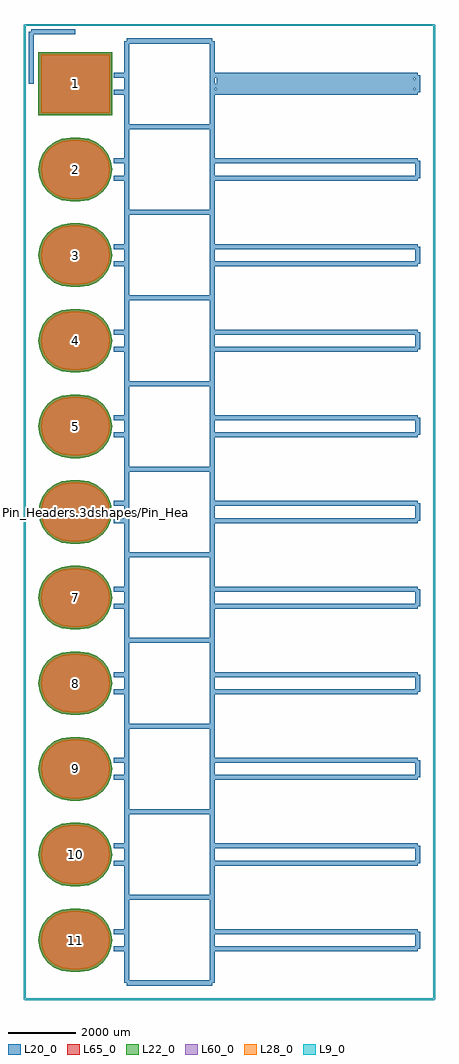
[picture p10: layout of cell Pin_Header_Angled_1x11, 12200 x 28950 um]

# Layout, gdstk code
import gdstk
lib = gdstk.Library(unit=1e-6, precision=1e-09)
def R(c, l, rs):  # rectangles x0, y0, x1, y1
    for r in rs: c.add(gdstk.rectangle(r[:2], r[2:], *l))
def P(c, l, *ps):  # polygons
    for p in ps: c.add(gdstk.Polygon(p, *l))
L9_0 = (9, 0)
L20_0 = (20, 0)
L22_0 = (22, 0)
L28_0 = (28, 0)
L60_0 = (60, 0)
L65_0 = (65, 0)

pin_header_angled_1x11 = lib.new_cell('Pin_Header_Angled_1x11')
R(pin_header_angled_1x11, L22_0, [(-1091,-938.6,1091,938.6)])
P(pin_header_angled_1x11, L22_0, [(-152.4,-26338.6),(152.4,-26338.6),(395.328,-26306.618),(621.7,-26212.851),(816.09,-26063.69),(965.251,-25869.3),(1059.018,-25642.928),(1091,-25400),(1059.018,-25157.072),(965.251,-24930.7),(816.09,-24736.31),(621.7,-24587.149),(395.328,-24493.382),(152.4,-24461.4),(-152.4,-24461.4),(-395.328,-24493.382),(-621.7,-24587.149),(-816.09,-24736.31),(-965.251,-24930.7),(-1059.018,-25157.072),(-1091,-25400),(-1059.018,-25642.928),(-965.251,-25869.3),(-816.09,-26063.69),(-621.7,-26212.851),(-395.328,-26306.618)],
  [(-152.4,-23798.6),(152.4,-23798.6),(395.328,-23766.618),(621.7,-23672.851),(816.09,-23523.69),(965.251,-23329.3),(1059.018,-23102.928),(1091,-22860),(1059.018,-22617.072),(965.251,-22390.7),(816.09,-22196.31),(621.7,-22047.149),(395.328,-21953.382),(152.4,-21921.4),(-152.4,-21921.4),(-395.328,-21953.382),(-621.7,-22047.149),(-816.09,-22196.31),(-965.251,-22390.7),(-1059.018,-22617.072),(-1091,-22860),(-1059.018,-23102.928),(-965.251,-23329.3),(-816.09,-23523.69),(-621.7,-23672.851),(-395.328,-23766.618)],
  [(-152.4,-21258.6),(152.4,-21258.6),(395.328,-21226.618),(621.7,-21132.851),(816.09,-20983.69),(965.251,-20789.3),(1059.018,-20562.928),(1091,-20320),(1059.018,-20077.072),(965.251,-19850.7),(816.09,-19656.31),(621.7,-19507.149),(395.328,-19413.382),(152.4,-19381.4),(-152.4,-19381.4),(-395.328,-19413.382),(-621.7,-19507.149),(-816.09,-19656.31),(-965.251,-19850.7),(-1059.018,-20077.072),(-1091,-20320),(-1059.018,-20562.928),(-965.251,-20789.3),(-816.09,-20983.69),(-621.7,-21132.851),(-395.328,-21226.618)],
  [(-152.4,-18718.6),(152.4,-18718.6),(395.328,-18686.618),(621.7,-18592.851),(816.09,-18443.69),(965.251,-18249.3),(1059.018,-18022.928),(1091,-17780),(1059.018,-17537.072),(965.251,-17310.7),(816.09,-17116.31),(621.7,-16967.149),(395.328,-16873.382),(152.4,-16841.4),(-152.4,-16841.4),(-395.328,-16873.382),(-621.7,-16967.149),(-816.09,-17116.31),(-965.251,-17310.7),(-1059.018,-17537.072),(-1091,-17780),(-1059.018,-18022.928),(-965.251,-18249.3),(-816.09,-18443.69),(-621.7,-18592.851),(-395.328,-18686.618)],
  [(-152.4,-16178.6),(152.4,-16178.6),(395.328,-16146.618),(621.7,-16052.851),(816.09,-15903.69),(965.251,-15709.3),(1059.018,-15482.928),(1091,-15240),(1059.018,-14997.072),(965.251,-14770.7),(816.09,-14576.31),(621.7,-14427.149),(395.328,-14333.382),(152.4,-14301.4),(-152.4,-14301.4),(-395.328,-14333.382),(-621.7,-14427.149),(-816.09,-14576.31),(-965.251,-14770.7),(-1059.018,-14997.072),(-1091,-15240),(-1059.018,-15482.928),(-965.251,-15709.3),(-816.09,-15903.69),(-621.7,-16052.851),(-395.328,-16146.618)],
  [(-152.4,-13638.6),(152.4,-13638.6),(395.328,-13606.618),(621.7,-13512.851),(816.09,-13363.69),(965.251,-13169.3),(1059.018,-12942.928),(1091,-12700),(1059.018,-12457.072),(965.251,-12230.7),(816.09,-12036.31),(621.7,-11887.149),(395.328,-11793.382),(152.4,-11761.4),(-152.4,-11761.4),(-395.328,-11793.382),(-621.7,-11887.149),(-816.09,-12036.31),(-965.251,-12230.7),(-1059.018,-12457.072),(-1091,-12700),(-1059.018,-12942.928),(-965.251,-13169.3),(-816.09,-13363.69),(-621.7,-13512.851),(-395.328,-13606.618)],
  [(-152.4,-11098.6),(152.4,-11098.6),(395.328,-11066.618),(621.7,-10972.851),(816.09,-10823.69),(965.251,-10629.3),(1059.018,-10402.928),(1091,-10160),(1059.018,-9917.072),(965.251,-9690.7),(816.09,-9496.31),(621.7,-9347.149),(395.328,-9253.382),(152.4,-9221.4),(-152.4,-9221.4),(-395.328,-9253.382),(-621.7,-9347.149),(-816.09,-9496.31),(-965.251,-9690.7),(-1059.018,-9917.072),(-1091,-10160),(-1059.018,-10402.928),(-965.251,-10629.3),(-816.09,-10823.69),(-621.7,-10972.851),(-395.328,-11066.618)],
  [(-152.4,-8558.6),(152.4,-8558.6),(395.328,-8526.618),(621.7,-8432.851),(816.09,-8283.69),(965.251,-8089.3),(1059.018,-7862.928),(1091,-7620),(1059.018,-7377.072),(965.251,-7150.7),(816.09,-6956.31),(621.7,-6807.149),(395.328,-6713.382),(152.4,-6681.4),(-152.4,-6681.4),(-395.328,-6713.382),(-621.7,-6807.149),(-816.09,-6956.31),(-965.251,-7150.7),(-1059.018,-7377.072),(-1091,-7620),(-1059.018,-7862.928),(-965.251,-8089.3),(-816.09,-8283.69),(-621.7,-8432.851),(-395.328,-8526.618)],
  [(-152.4,-6018.6),(152.4,-6018.6),(395.328,-5986.618),(621.7,-5892.851),(816.09,-5743.69),(965.251,-5549.3),(1059.018,-5322.928),(1091,-5080),(1059.018,-4837.072),(965.251,-4610.7),(816.09,-4416.31),(621.7,-4267.149),(395.328,-4173.382),(152.4,-4141.4),(-152.4,-4141.4),(-395.328,-4173.382),(-621.7,-4267.149),(-816.09,-4416.31),(-965.251,-4610.7),(-1059.018,-4837.072),(-1091,-5080),(-1059.018,-5322.928),(-965.251,-5549.3),(-816.09,-5743.69),(-621.7,-5892.851),(-395.328,-5986.618)],
  [(-152.4,-3478.6),(152.4,-3478.6),(395.328,-3446.618),(621.7,-3352.851),(816.09,-3203.69),(965.251,-3009.3),(1059.018,-2782.928),(1091,-2540),(1059.018,-2297.072),(965.251,-2070.7),(816.09,-1876.31),(621.7,-1727.149),(395.328,-1633.382),(152.4,-1601.4),(-152.4,-1601.4),(-395.328,-1633.382),(-621.7,-1727.149),(-816.09,-1876.31),(-965.251,-2070.7),(-1059.018,-2297.072),(-1091,-2540),(-1059.018,-2782.928),(-965.251,-3009.3),(-816.09,-3203.69),(-621.7,-3352.851),(-395.328,-3446.618)])
R(pin_header_angled_1x11, L28_0, [(-1016,-863.6,1016,863.6)])
P(pin_header_angled_1x11, L28_0, [(-152.4,-26263.6),(152.4,-26263.6),(375.916,-26234.174),(584.2,-26147.9),(763.057,-26010.657),(900.3,-25831.8),(986.574,-25623.516),(1016,-25400),(986.574,-25176.484),(900.3,-24968.2),(763.057,-24789.343),(584.2,-24652.1),(375.916,-24565.826),(152.4,-24536.4),(-152.4,-24536.4),(-375.916,-24565.826),(-584.2,-24652.1),(-763.057,-24789.343),(-900.3,-24968.2),(-986.574,-25176.484),(-1016,-25400),(-986.574,-25623.516),(-900.3,-25831.8),(-763.057,-26010.657),(-584.2,-26147.9),(-375.916,-26234.174)],
  [(-152.4,-23723.6),(152.4,-23723.6),(375.916,-23694.174),(584.2,-23607.9),(763.057,-23470.657),(900.3,-23291.8),(986.574,-23083.516),(1016,-22860),(986.574,-22636.484),(900.3,-22428.2),(763.057,-22249.343),(584.2,-22112.1),(375.916,-22025.826),(152.4,-21996.4),(-152.4,-21996.4),(-375.916,-22025.826),(-584.2,-22112.1),(-763.057,-22249.343),(-900.3,-22428.2),(-986.574,-22636.484),(-1016,-22860),(-986.574,-23083.516),(-900.3,-23291.8),(-763.057,-23470.657),(-584.2,-23607.9),(-375.916,-23694.174)],
  [(-152.4,-21183.6),(152.4,-21183.6),(375.916,-21154.174),(584.2,-21067.9),(763.057,-20930.657),(900.3,-20751.8),(986.574,-20543.516),(1016,-20320),(986.574,-20096.484),(900.3,-19888.2),(763.057,-19709.343),(584.2,-19572.1),(375.916,-19485.826),(152.4,-19456.4),(-152.4,-19456.4),(-375.916,-19485.826),(-584.2,-19572.1),(-763.057,-19709.343),(-900.3,-19888.2),(-986.574,-20096.484),(-1016,-20320),(-986.574,-20543.516),(-900.3,-20751.8),(-763.057,-20930.657),(-584.2,-21067.9),(-375.916,-21154.174)],
  [(-152.4,-18643.6),(152.4,-18643.6),(375.916,-18614.174),(584.2,-18527.9),(763.057,-18390.657),(900.3,-18211.8),(986.574,-18003.516),(1016,-17780),(986.574,-17556.484),(900.3,-17348.2),(763.057,-17169.343),(584.2,-17032.1),(375.916,-16945.826),(152.4,-16916.4),(-152.4,-16916.4),(-375.916,-16945.826),(-584.2,-17032.1),(-763.057,-17169.343),(-900.3,-17348.2),(-986.574,-17556.484),(-1016,-17780),(-986.574,-18003.516),(-900.3,-18211.8),(-763.057,-18390.657),(-584.2,-18527.9),(-375.916,-18614.174)],
  [(-152.4,-16103.6),(152.4,-16103.6),(375.916,-16074.174),(584.2,-15987.9),(763.057,-15850.657),(900.3,-15671.8),(986.574,-15463.516),(1016,-15240),(986.574,-15016.484),(900.3,-14808.2),(763.057,-14629.343),(584.2,-14492.1),(375.916,-14405.826),(152.4,-14376.4),(-152.4,-14376.4),(-375.916,-14405.826),(-584.2,-14492.1),(-763.057,-14629.343),(-900.3,-14808.2),(-986.574,-15016.484),(-1016,-15240),(-986.574,-15463.516),(-900.3,-15671.8),(-763.057,-15850.657),(-584.2,-15987.9),(-375.916,-16074.174)],
  [(-152.4,-13563.6),(152.4,-13563.6),(375.916,-13534.174),(584.2,-13447.9),(763.057,-13310.657),(900.3,-13131.8),(986.574,-12923.516),(1016,-12700),(986.574,-12476.484),(900.3,-12268.2),(763.057,-12089.343),(584.2,-11952.1),(375.916,-11865.826),(152.4,-11836.4),(-152.4,-11836.4),(-375.916,-11865.826),(-584.2,-11952.1),(-763.057,-12089.343),(-900.3,-12268.2),(-986.574,-12476.484),(-1016,-12700),(-986.574,-12923.516),(-900.3,-13131.8),(-763.057,-13310.657),(-584.2,-13447.9),(-375.916,-13534.174)],
  [(-152.4,-11023.6),(152.4,-11023.6),(375.916,-10994.174),(584.2,-10907.9),(763.057,-10770.657),(900.3,-10591.8),(986.574,-10383.516),(1016,-10160),(986.574,-9936.484),(900.3,-9728.2),(763.057,-9549.343),(584.2,-9412.1),(375.916,-9325.826),(152.4,-9296.4),(-152.4,-9296.4),(-375.916,-9325.826),(-584.2,-9412.1),(-763.057,-9549.343),(-900.3,-9728.2),(-986.574,-9936.484),(-1016,-10160),(-986.574,-10383.516),(-900.3,-10591.8),(-763.057,-10770.657),(-584.2,-10907.9),(-375.916,-10994.174)],
  [(-152.4,-8483.6),(152.4,-8483.6),(375.916,-8454.174),(584.2,-8367.9),(763.057,-8230.657),(900.3,-8051.8),(986.574,-7843.516),(1016,-7620),(986.574,-7396.484),(900.3,-7188.2),(763.057,-7009.343),(584.2,-6872.1),(375.916,-6785.826),(152.4,-6756.4),(-152.4,-6756.4),(-375.916,-6785.826),(-584.2,-6872.1),(-763.057,-7009.343),(-900.3,-7188.2),(-986.574,-7396.484),(-1016,-7620),(-986.574,-7843.516),(-900.3,-8051.8),(-763.057,-8230.657),(-584.2,-8367.9),(-375.916,-8454.174)],
  [(-152.4,-5943.6),(152.4,-5943.6),(375.916,-5914.174),(584.2,-5827.9),(763.057,-5690.657),(900.3,-5511.8),(986.574,-5303.516),(1016,-5080),(986.574,-4856.484),(900.3,-4648.2),(763.057,-4469.343),(584.2,-4332.1),(375.916,-4245.826),(152.4,-4216.4),(-152.4,-4216.4),(-375.916,-4245.826),(-584.2,-4332.1),(-763.057,-4469.343),(-900.3,-4648.2),(-986.574,-4856.484),(-1016,-5080),(-986.574,-5303.516),(-900.3,-5511.8),(-763.057,-5690.657),(-584.2,-5827.9),(-375.916,-5914.174)],
  [(-152.4,-3403.6),(152.4,-3403.6),(375.916,-3374.174),(584.2,-3287.9),(763.057,-3150.657),(900.3,-2971.8),(986.574,-2763.516),(1016,-2540),(986.574,-2316.484),(900.3,-2108.2),(763.057,-1929.343),(584.2,-1792.1),(375.916,-1705.826),(152.4,-1676.4),(-152.4,-1676.4),(-375.916,-1705.826),(-584.2,-1792.1),(-763.057,-1929.343),(-900.3,-2108.2),(-986.574,-2316.484),(-1016,-2540),(-986.574,-2763.516),(-900.3,-2971.8),(-763.057,-3150.657),(-584.2,-3287.9),(-375.916,-3374.174)])
R(pin_header_angled_1x11, L60_0, [(-1016,-863.6,1016,863.6)])
P(pin_header_angled_1x11, L60_0, [(-152.4,-26263.6),(152.4,-26263.6),(375.916,-26234.174),(584.2,-26147.9),(763.057,-26010.657),(900.3,-25831.8),(986.574,-25623.516),(1016,-25400),(986.574,-25176.484),(900.3,-24968.2),(763.057,-24789.343),(584.2,-24652.1),(375.916,-24565.826),(152.4,-24536.4),(-152.4,-24536.4),(-375.916,-24565.826),(-584.2,-24652.1),(-763.057,-24789.343),(-900.3,-24968.2),(-986.574,-25176.484),(-1016,-25400),(-986.574,-25623.516),(-900.3,-25831.8),(-763.057,-26010.657),(-584.2,-26147.9),(-375.916,-26234.174)],
  [(-152.4,-23723.6),(152.4,-23723.6),(375.916,-23694.174),(584.2,-23607.9),(763.057,-23470.657),(900.3,-23291.8),(986.574,-23083.516),(1016,-22860),(986.574,-22636.484),(900.3,-22428.2),(763.057,-22249.343),(584.2,-22112.1),(375.916,-22025.826),(152.4,-21996.4),(-152.4,-21996.4),(-375.916,-22025.826),(-584.2,-22112.1),(-763.057,-22249.343),(-900.3,-22428.2),(-986.574,-22636.484),(-1016,-22860),(-986.574,-23083.516),(-900.3,-23291.8),(-763.057,-23470.657),(-584.2,-23607.9),(-375.916,-23694.174)],
  [(-152.4,-21183.6),(152.4,-21183.6),(375.916,-21154.174),(584.2,-21067.9),(763.057,-20930.657),(900.3,-20751.8),(986.574,-20543.516),(1016,-20320),(986.574,-20096.484),(900.3,-19888.2),(763.057,-19709.343),(584.2,-19572.1),(375.916,-19485.826),(152.4,-19456.4),(-152.4,-19456.4),(-375.916,-19485.826),(-584.2,-19572.1),(-763.057,-19709.343),(-900.3,-19888.2),(-986.574,-20096.484),(-1016,-20320),(-986.574,-20543.516),(-900.3,-20751.8),(-763.057,-20930.657),(-584.2,-21067.9),(-375.916,-21154.174)],
  [(-152.4,-18643.6),(152.4,-18643.6),(375.916,-18614.174),(584.2,-18527.9),(763.057,-18390.657),(900.3,-18211.8),(986.574,-18003.516),(1016,-17780),(986.574,-17556.484),(900.3,-17348.2),(763.057,-17169.343),(584.2,-17032.1),(375.916,-16945.826),(152.4,-16916.4),(-152.4,-16916.4),(-375.916,-16945.826),(-584.2,-17032.1),(-763.057,-17169.343),(-900.3,-17348.2),(-986.574,-17556.484),(-1016,-17780),(-986.574,-18003.516),(-900.3,-18211.8),(-763.057,-18390.657),(-584.2,-18527.9),(-375.916,-18614.174)],
  [(-152.4,-16103.6),(152.4,-16103.6),(375.916,-16074.174),(584.2,-15987.9),(763.057,-15850.657),(900.3,-15671.8),(986.574,-15463.516),(1016,-15240),(986.574,-15016.484),(900.3,-14808.2),(763.057,-14629.343),(584.2,-14492.1),(375.916,-14405.826),(152.4,-14376.4),(-152.4,-14376.4),(-375.916,-14405.826),(-584.2,-14492.1),(-763.057,-14629.343),(-900.3,-14808.2),(-986.574,-15016.484),(-1016,-15240),(-986.574,-15463.516),(-900.3,-15671.8),(-763.057,-15850.657),(-584.2,-15987.9),(-375.916,-16074.174)],
  [(-152.4,-13563.6),(152.4,-13563.6),(375.916,-13534.174),(584.2,-13447.9),(763.057,-13310.657),(900.3,-13131.8),(986.574,-12923.516),(1016,-12700),(986.574,-12476.484),(900.3,-12268.2),(763.057,-12089.343),(584.2,-11952.1),(375.916,-11865.826),(152.4,-11836.4),(-152.4,-11836.4),(-375.916,-11865.826),(-584.2,-11952.1),(-763.057,-12089.343),(-900.3,-12268.2),(-986.574,-12476.484),(-1016,-12700),(-986.574,-12923.516),(-900.3,-13131.8),(-763.057,-13310.657),(-584.2,-13447.9),(-375.916,-13534.174)],
  [(-152.4,-11023.6),(152.4,-11023.6),(375.916,-10994.174),(584.2,-10907.9),(763.057,-10770.657),(900.3,-10591.8),(986.574,-10383.516),(1016,-10160),(986.574,-9936.484),(900.3,-9728.2),(763.057,-9549.343),(584.2,-9412.1),(375.916,-9325.826),(152.4,-9296.4),(-152.4,-9296.4),(-375.916,-9325.826),(-584.2,-9412.1),(-763.057,-9549.343),(-900.3,-9728.2),(-986.574,-9936.484),(-1016,-10160),(-986.574,-10383.516),(-900.3,-10591.8),(-763.057,-10770.657),(-584.2,-10907.9),(-375.916,-10994.174)],
  [(-152.4,-8483.6),(152.4,-8483.6),(375.916,-8454.174),(584.2,-8367.9),(763.057,-8230.657),(900.3,-8051.8),(986.574,-7843.516),(1016,-7620),(986.574,-7396.484),(900.3,-7188.2),(763.057,-7009.343),(584.2,-6872.1),(375.916,-6785.826),(152.4,-6756.4),(-152.4,-6756.4),(-375.916,-6785.826),(-584.2,-6872.1),(-763.057,-7009.343),(-900.3,-7188.2),(-986.574,-7396.484),(-1016,-7620),(-986.574,-7843.516),(-900.3,-8051.8),(-763.057,-8230.657),(-584.2,-8367.9),(-375.916,-8454.174)],
  [(-152.4,-5943.6),(152.4,-5943.6),(375.916,-5914.174),(584.2,-5827.9),(763.057,-5690.657),(900.3,-5511.8),(986.574,-5303.516),(1016,-5080),(986.574,-4856.484),(900.3,-4648.2),(763.057,-4469.343),(584.2,-4332.1),(375.916,-4245.826),(152.4,-4216.4),(-152.4,-4216.4),(-375.916,-4245.826),(-584.2,-4332.1),(-763.057,-4469.343),(-900.3,-4648.2),(-986.574,-4856.484),(-1016,-5080),(-986.574,-5303.516),(-900.3,-5511.8),(-763.057,-5690.657),(-584.2,-5827.9),(-375.916,-5914.174)],
  [(-152.4,-3403.6),(152.4,-3403.6),(375.916,-3374.174),(584.2,-3287.9),(763.057,-3150.657),(900.3,-2971.8),(986.574,-2763.516),(1016,-2540),(986.574,-2316.484),(900.3,-2108.2),(763.057,-1929.343),(584.2,-1792.1),(375.916,-1705.826),(152.4,-1676.4),(-152.4,-1676.4),(-375.916,-1705.826),(-584.2,-1792.1),(-763.057,-1929.343),(-900.3,-2108.2),(-986.574,-2316.484),(-1016,-2540),(-986.574,-2763.516),(-900.3,-2971.8),(-763.057,-3150.657),(-584.2,-3287.9),(-375.916,-3374.174)])
R(pin_header_angled_1x11, L65_0, [(-1091,-938.6,1091,938.6)])
P(pin_header_angled_1x11, L65_0, [(-152.4,-26338.6),(152.4,-26338.6),(395.328,-26306.618),(621.7,-26212.851),(816.09,-26063.69),(965.251,-25869.3),(1059.018,-25642.928),(1091,-25400),(1059.018,-25157.072),(965.251,-24930.7),(816.09,-24736.31),(621.7,-24587.149),(395.328,-24493.382),(152.4,-24461.4),(-152.4,-24461.4),(-395.328,-24493.382),(-621.7,-24587.149),(-816.09,-24736.31),(-965.251,-24930.7),(-1059.018,-25157.072),(-1091,-25400),(-1059.018,-25642.928),(-965.251,-25869.3),(-816.09,-26063.69),(-621.7,-26212.851),(-395.328,-26306.618)],
  [(-152.4,-23798.6),(152.4,-23798.6),(395.328,-23766.618),(621.7,-23672.851),(816.09,-23523.69),(965.251,-23329.3),(1059.018,-23102.928),(1091,-22860),(1059.018,-22617.072),(965.251,-22390.7),(816.09,-22196.31),(621.7,-22047.149),(395.328,-21953.382),(152.4,-21921.4),(-152.4,-21921.4),(-395.328,-21953.382),(-621.7,-22047.149),(-816.09,-22196.31),(-965.251,-22390.7),(-1059.018,-22617.072),(-1091,-22860),(-1059.018,-23102.928),(-965.251,-23329.3),(-816.09,-23523.69),(-621.7,-23672.851),(-395.328,-23766.618)],
  [(-152.4,-21258.6),(152.4,-21258.6),(395.328,-21226.618),(621.7,-21132.851),(816.09,-20983.69),(965.251,-20789.3),(1059.018,-20562.928),(1091,-20320),(1059.018,-20077.072),(965.251,-19850.7),(816.09,-19656.31),(621.7,-19507.149),(395.328,-19413.382),(152.4,-19381.4),(-152.4,-19381.4),(-395.328,-19413.382),(-621.7,-19507.149),(-816.09,-19656.31),(-965.251,-19850.7),(-1059.018,-20077.072),(-1091,-20320),(-1059.018,-20562.928),(-965.251,-20789.3),(-816.09,-20983.69),(-621.7,-21132.851),(-395.328,-21226.618)],
  [(-152.4,-18718.6),(152.4,-18718.6),(395.328,-18686.618),(621.7,-18592.851),(816.09,-18443.69),(965.251,-18249.3),(1059.018,-18022.928),(1091,-17780),(1059.018,-17537.072),(965.251,-17310.7),(816.09,-17116.31),(621.7,-16967.149),(395.328,-16873.382),(152.4,-16841.4),(-152.4,-16841.4),(-395.328,-16873.382),(-621.7,-16967.149),(-816.09,-17116.31),(-965.251,-17310.7),(-1059.018,-17537.072),(-1091,-17780),(-1059.018,-18022.928),(-965.251,-18249.3),(-816.09,-18443.69),(-621.7,-18592.851),(-395.328,-18686.618)],
  [(-152.4,-16178.6),(152.4,-16178.6),(395.328,-16146.618),(621.7,-16052.851),(816.09,-15903.69),(965.251,-15709.3),(1059.018,-15482.928),(1091,-15240),(1059.018,-14997.072),(965.251,-14770.7),(816.09,-14576.31),(621.7,-14427.149),(395.328,-14333.382),(152.4,-14301.4),(-152.4,-14301.4),(-395.328,-14333.382),(-621.7,-14427.149),(-816.09,-14576.31),(-965.251,-14770.7),(-1059.018,-14997.072),(-1091,-15240),(-1059.018,-15482.928),(-965.251,-15709.3),(-816.09,-15903.69),(-621.7,-16052.851),(-395.328,-16146.618)],
  [(-152.4,-13638.6),(152.4,-13638.6),(395.328,-13606.618),(621.7,-13512.851),(816.09,-13363.69),(965.251,-13169.3),(1059.018,-12942.928),(1091,-12700),(1059.018,-12457.072),(965.251,-12230.7),(816.09,-12036.31),(621.7,-11887.149),(395.328,-11793.382),(152.4,-11761.4),(-152.4,-11761.4),(-395.328,-11793.382),(-621.7,-11887.149),(-816.09,-12036.31),(-965.251,-12230.7),(-1059.018,-12457.072),(-1091,-12700),(-1059.018,-12942.928),(-965.251,-13169.3),(-816.09,-13363.69),(-621.7,-13512.851),(-395.328,-13606.618)],
  [(-152.4,-11098.6),(152.4,-11098.6),(395.328,-11066.618),(621.7,-10972.851),(816.09,-10823.69),(965.251,-10629.3),(1059.018,-10402.928),(1091,-10160),(1059.018,-9917.072),(965.251,-9690.7),(816.09,-9496.31),(621.7,-9347.149),(395.328,-9253.382),(152.4,-9221.4),(-152.4,-9221.4),(-395.328,-9253.382),(-621.7,-9347.149),(-816.09,-9496.31),(-965.251,-9690.7),(-1059.018,-9917.072),(-1091,-10160),(-1059.018,-10402.928),(-965.251,-10629.3),(-816.09,-10823.69),(-621.7,-10972.851),(-395.328,-11066.618)],
  [(-152.4,-8558.6),(152.4,-8558.6),(395.328,-8526.618),(621.7,-8432.851),(816.09,-8283.69),(965.251,-8089.3),(1059.018,-7862.928),(1091,-7620),(1059.018,-7377.072),(965.251,-7150.7),(816.09,-6956.31),(621.7,-6807.149),(395.328,-6713.382),(152.4,-6681.4),(-152.4,-6681.4),(-395.328,-6713.382),(-621.7,-6807.149),(-816.09,-6956.31),(-965.251,-7150.7),(-1059.018,-7377.072),(-1091,-7620),(-1059.018,-7862.928),(-965.251,-8089.3),(-816.09,-8283.69),(-621.7,-8432.851),(-395.328,-8526.618)],
  [(-152.4,-6018.6),(152.4,-6018.6),(395.328,-5986.618),(621.7,-5892.851),(816.09,-5743.69),(965.251,-5549.3),(1059.018,-5322.928),(1091,-5080),(1059.018,-4837.072),(965.251,-4610.7),(816.09,-4416.31),(621.7,-4267.149),(395.328,-4173.382),(152.4,-4141.4),(-152.4,-4141.4),(-395.328,-4173.382),(-621.7,-4267.149),(-816.09,-4416.31),(-965.251,-4610.7),(-1059.018,-4837.072),(-1091,-5080),(-1059.018,-5322.928),(-965.251,-5549.3),(-816.09,-5743.69),(-621.7,-5892.851),(-395.328,-5986.618)],
  [(-152.4,-3478.6),(152.4,-3478.6),(395.328,-3446.618),(621.7,-3352.851),(816.09,-3203.69),(965.251,-3009.3),(1059.018,-2782.928),(1091,-2540),(1059.018,-2297.072),(965.251,-2070.7),(816.09,-1876.31),(621.7,-1727.149),(395.328,-1633.382),(152.4,-1601.4),(-152.4,-1601.4),(-395.328,-1633.382),(-621.7,-1727.149),(-816.09,-1876.31),(-965.251,-2070.7),(-1059.018,-2297.072),(-1091,-2540),(-1059.018,-2782.928),(-965.251,-3009.3),(-816.09,-3203.69),(-621.7,-3352.851),(-395.328,-3446.618)])
pin_header_angled_1x11.add(gdstk.FlexPath([(1524,-6350),(4064,-6350)], 149.998, ends="flush", simple_path=True, layer=20, datatype=0))  # L20_0
pin_header_angled_1x11.add(gdstk.FlexPath([(1524,-6350),(1524,-8890)], 149.998, ends="flush", simple_path=True, layer=20, datatype=0))  # L20_0
pin_header_angled_1x11.add(gdstk.FlexPath([(1524,-8890),(4064,-8890)], 149.998, ends="flush", simple_path=True, layer=20, datatype=0))  # L20_0
pin_header_angled_1x11.add(gdstk.FlexPath([(4064,-7366),(10160,-7366)], 149.998, ends="flush", simple_path=True, layer=20, datatype=0))  # L20_0
pin_header_angled_1x11.add(gdstk.FlexPath([(10160,-7366),(10160,-7874)], 149.998, ends="flush", simple_path=True, layer=20, datatype=0))  # L20_0
pin_header_angled_1x11.add(gdstk.FlexPath([(10160,-7874),(4064,-7874)], 149.998, ends="flush", simple_path=True, layer=20, datatype=0))  # L20_0
pin_header_angled_1x11.add(gdstk.FlexPath([(4064,-8890),(4064,-6350)], 149.998, ends="flush", simple_path=True, layer=20, datatype=0))  # L20_0
pin_header_angled_1x11.add(gdstk.FlexPath([(4064,-11430),(4064,-8890)], 149.998, ends="flush", simple_path=True, layer=20, datatype=0))  # L20_0
pin_header_angled_1x11.add(gdstk.FlexPath([(10160,-10414),(4064,-10414)], 149.998, ends="flush", simple_path=True, layer=20, datatype=0))  # L20_0
pin_header_angled_1x11.add(gdstk.FlexPath([(10160,-9906),(10160,-10414)], 149.998, ends="flush", simple_path=True, layer=20, datatype=0))  # L20_0
pin_header_angled_1x11.add(gdstk.FlexPath([(4064,-9906),(10160,-9906)], 149.998, ends="flush", simple_path=True, layer=20, datatype=0))  # L20_0
pin_header_angled_1x11.add(gdstk.FlexPath([(1524,-11430),(4064,-11430)], 149.998, ends="flush", simple_path=True, layer=20, datatype=0))  # L20_0
pin_header_angled_1x11.add(gdstk.FlexPath([(1524,-8890),(1524,-11430)], 149.998, ends="flush", simple_path=True, layer=20, datatype=0))  # L20_0
pin_header_angled_1x11.add(gdstk.FlexPath([(1524,-8890),(4064,-8890)], 149.998, ends="flush", simple_path=True, layer=20, datatype=0))  # L20_0
pin_header_angled_1x11.add(gdstk.FlexPath([(1524,-13970),(4064,-13970)], 149.998, ends="flush", simple_path=True, layer=20, datatype=0))  # L20_0
pin_header_angled_1x11.add(gdstk.FlexPath([(1524,-13970),(1524,-16510)], 149.998, ends="flush", simple_path=True, layer=20, datatype=0))  # L20_0
pin_header_angled_1x11.add(gdstk.FlexPath([(1524,-16510),(4064,-16510)], 149.998, ends="flush", simple_path=True, layer=20, datatype=0))  # L20_0
pin_header_angled_1x11.add(gdstk.FlexPath([(4064,-14986),(10160,-14986)], 149.998, ends="flush", simple_path=True, layer=20, datatype=0))  # L20_0
pin_header_angled_1x11.add(gdstk.FlexPath([(10160,-14986),(10160,-15494)], 149.998, ends="flush", simple_path=True, layer=20, datatype=0))  # L20_0
pin_header_angled_1x11.add(gdstk.FlexPath([(10160,-15494),(4064,-15494)], 149.998, ends="flush", simple_path=True, layer=20, datatype=0))  # L20_0
pin_header_angled_1x11.add(gdstk.FlexPath([(4064,-16510),(4064,-13970)], 149.998, ends="flush", simple_path=True, layer=20, datatype=0))  # L20_0
pin_header_angled_1x11.add(gdstk.FlexPath([(4064,-13970),(4064,-11430)], 149.998, ends="flush", simple_path=True, layer=20, datatype=0))  # L20_0
pin_header_angled_1x11.add(gdstk.FlexPath([(10160,-12954),(4064,-12954)], 149.998, ends="flush", simple_path=True, layer=20, datatype=0))  # L20_0
pin_header_angled_1x11.add(gdstk.FlexPath([(10160,-12446),(10160,-12954)], 149.998, ends="flush", simple_path=True, layer=20, datatype=0))  # L20_0
pin_header_angled_1x11.add(gdstk.FlexPath([(4064,-12446),(10160,-12446)], 149.998, ends="flush", simple_path=True, layer=20, datatype=0))  # L20_0
pin_header_angled_1x11.add(gdstk.FlexPath([(1524,-13970),(4064,-13970)], 149.998, ends="flush", simple_path=True, layer=20, datatype=0))  # L20_0
pin_header_angled_1x11.add(gdstk.FlexPath([(1524,-11430),(1524,-13970)], 149.998, ends="flush", simple_path=True, layer=20, datatype=0))  # L20_0
pin_header_angled_1x11.add(gdstk.FlexPath([(1524,-11430),(4064,-11430)], 149.998, ends="flush", simple_path=True, layer=20, datatype=0))  # L20_0
pin_header_angled_1x11.add(gdstk.FlexPath([(1524,-1270),(4064,-1270)], 149.998, ends="flush", simple_path=True, layer=20, datatype=0))  # L20_0
pin_header_angled_1x11.add(gdstk.FlexPath([(1524,-1270),(1524,-3810)], 149.998, ends="flush", simple_path=True, layer=20, datatype=0))  # L20_0
pin_header_angled_1x11.add(gdstk.FlexPath([(1524,-3810),(4064,-3810)], 149.998, ends="flush", simple_path=True, layer=20, datatype=0))  # L20_0
pin_header_angled_1x11.add(gdstk.FlexPath([(4064,-2286),(10160,-2286)], 149.998, ends="flush", simple_path=True, layer=20, datatype=0))  # L20_0
pin_header_angled_1x11.add(gdstk.FlexPath([(10160,-2286),(10160,-2794)], 149.998, ends="flush", simple_path=True, layer=20, datatype=0))  # L20_0
pin_header_angled_1x11.add(gdstk.FlexPath([(10160,-2794),(4064,-2794)], 149.998, ends="flush", simple_path=True, layer=20, datatype=0))  # L20_0
pin_header_angled_1x11.add(gdstk.FlexPath([(4064,-3810),(4064,-1270)], 149.998, ends="flush", simple_path=True, layer=20, datatype=0))  # L20_0
pin_header_angled_1x11.add(gdstk.FlexPath([(4064,-6350),(4064,-3810)], 149.998, ends="flush", simple_path=True, layer=20, datatype=0))  # L20_0
pin_header_angled_1x11.add(gdstk.FlexPath([(10160,-5334),(4064,-5334)], 149.998, ends="flush", simple_path=True, layer=20, datatype=0))  # L20_0
pin_header_angled_1x11.add(gdstk.FlexPath([(10160,-4826),(10160,-5334)], 149.998, ends="flush", simple_path=True, layer=20, datatype=0))  # L20_0
pin_header_angled_1x11.add(gdstk.FlexPath([(4064,-4826),(10160,-4826)], 149.998, ends="flush", simple_path=True, layer=20, datatype=0))  # L20_0
pin_header_angled_1x11.add(gdstk.FlexPath([(1524,-6350),(4064,-6350)], 149.998, ends="flush", simple_path=True, layer=20, datatype=0))  # L20_0
pin_header_angled_1x11.add(gdstk.FlexPath([(1524,-3810),(1524,-6350)], 149.998, ends="flush", simple_path=True, layer=20, datatype=0))  # L20_0
pin_header_angled_1x11.add(gdstk.FlexPath([(1524,-3810),(4064,-3810)], 149.998, ends="flush", simple_path=True, layer=20, datatype=0))  # L20_0
pin_header_angled_1x11.add(gdstk.FlexPath([(1524,1270),(4064,1270)], 149.998, ends="flush", simple_path=True, layer=20, datatype=0))  # L20_0
pin_header_angled_1x11.add(gdstk.FlexPath([(1524,1270),(1524,-1270)], 149.998, ends="flush", simple_path=True, layer=20, datatype=0))  # L20_0
pin_header_angled_1x11.add(gdstk.FlexPath([(1524,-1270),(4064,-1270)], 149.998, ends="flush", simple_path=True, layer=20, datatype=0))  # L20_0
pin_header_angled_1x11.add(gdstk.FlexPath([(4064,254),(10160,254)], 149.998, ends="flush", simple_path=True, layer=20, datatype=0))  # L20_0
pin_header_angled_1x11.add(gdstk.FlexPath([(10160,254),(10160,-254)], 149.998, ends="flush", simple_path=True, layer=20, datatype=0))  # L20_0
pin_header_angled_1x11.add(gdstk.FlexPath([(10160,-254),(4064,-254)], 149.998, ends="flush", simple_path=True, layer=20, datatype=0))  # L20_0
pin_header_angled_1x11.add(gdstk.FlexPath([(4064,-1270),(4064,1270)], 149.998, ends="flush", simple_path=True, layer=20, datatype=0))  # L20_0
pin_header_angled_1x11.add(gdstk.FlexPath([(1524,-26670),(4064,-26670)], 149.998, ends="flush", simple_path=True, layer=20, datatype=0))  # L20_0
pin_header_angled_1x11.add(gdstk.FlexPath([(1524,-21590),(4064,-21590)], 149.998, ends="flush", simple_path=True, layer=20, datatype=0))  # L20_0
pin_header_angled_1x11.add(gdstk.FlexPath([(1524,-21590),(1524,-24130)], 149.998, ends="flush", simple_path=True, layer=20, datatype=0))  # L20_0
pin_header_angled_1x11.add(gdstk.FlexPath([(1524,-24130),(4064,-24130)], 149.998, ends="flush", simple_path=True, layer=20, datatype=0))  # L20_0
pin_header_angled_1x11.add(gdstk.FlexPath([(4064,-22606),(10160,-22606)], 149.998, ends="flush", simple_path=True, layer=20, datatype=0))  # L20_0
pin_header_angled_1x11.add(gdstk.FlexPath([(10160,-22606),(10160,-23114)], 149.998, ends="flush", simple_path=True, layer=20, datatype=0))  # L20_0
pin_header_angled_1x11.add(gdstk.FlexPath([(10160,-23114),(4064,-23114)], 149.998, ends="flush", simple_path=True, layer=20, datatype=0))  # L20_0
pin_header_angled_1x11.add(gdstk.FlexPath([(4064,-24130),(4064,-21590)], 149.998, ends="flush", simple_path=True, layer=20, datatype=0))  # L20_0
pin_header_angled_1x11.add(gdstk.FlexPath([(4064,-26670),(4064,-24130)], 149.998, ends="flush", simple_path=True, layer=20, datatype=0))  # L20_0
pin_header_angled_1x11.add(gdstk.FlexPath([(10160,-25654),(4064,-25654)], 149.998, ends="flush", simple_path=True, layer=20, datatype=0))  # L20_0
pin_header_angled_1x11.add(gdstk.FlexPath([(10160,-25146),(10160,-25654)], 149.998, ends="flush", simple_path=True, layer=20, datatype=0))  # L20_0
pin_header_angled_1x11.add(gdstk.FlexPath([(4064,-25146),(10160,-25146)], 149.998, ends="flush", simple_path=True, layer=20, datatype=0))  # L20_0
pin_header_angled_1x11.add(gdstk.FlexPath([(1524,-24130),(1524,-26670)], 149.998, ends="flush", simple_path=True, layer=20, datatype=0))  # L20_0
pin_header_angled_1x11.add(gdstk.FlexPath([(1524,-24130),(4064,-24130)], 149.998, ends="flush", simple_path=True, layer=20, datatype=0))  # L20_0
pin_header_angled_1x11.add(gdstk.FlexPath([(1524,-19050),(4064,-19050)], 149.998, ends="flush", simple_path=True, layer=20, datatype=0))  # L20_0
pin_header_angled_1x11.add(gdstk.FlexPath([(1524,-19050),(1524,-21590)], 149.998, ends="flush", simple_path=True, layer=20, datatype=0))  # L20_0
pin_header_angled_1x11.add(gdstk.FlexPath([(1524,-21590),(4064,-21590)], 149.998, ends="flush", simple_path=True, layer=20, datatype=0))  # L20_0
pin_header_angled_1x11.add(gdstk.FlexPath([(4064,-20066),(10160,-20066)], 149.998, ends="flush", simple_path=True, layer=20, datatype=0))  # L20_0
pin_header_angled_1x11.add(gdstk.FlexPath([(10160,-20066),(10160,-20574)], 149.998, ends="flush", simple_path=True, layer=20, datatype=0))  # L20_0
pin_header_angled_1x11.add(gdstk.FlexPath([(10160,-20574),(4064,-20574)], 149.998, ends="flush", simple_path=True, layer=20, datatype=0))  # L20_0
pin_header_angled_1x11.add(gdstk.FlexPath([(4064,-21590),(4064,-19050)], 149.998, ends="flush", simple_path=True, layer=20, datatype=0))  # L20_0
pin_header_angled_1x11.add(gdstk.FlexPath([(4064,-19050),(4064,-16510)], 149.998, ends="flush", simple_path=True, layer=20, datatype=0))  # L20_0
pin_header_angled_1x11.add(gdstk.FlexPath([(10160,-18034),(4064,-18034)], 149.998, ends="flush", simple_path=True, layer=20, datatype=0))  # L20_0
pin_header_angled_1x11.add(gdstk.FlexPath([(10160,-17526),(10160,-18034)], 149.998, ends="flush", simple_path=True, layer=20, datatype=0))  # L20_0
pin_header_angled_1x11.add(gdstk.FlexPath([(4064,-17526),(10160,-17526)], 149.998, ends="flush", simple_path=True, layer=20, datatype=0))  # L20_0
pin_header_angled_1x11.add(gdstk.FlexPath([(1524,-19050),(4064,-19050)], 149.998, ends="flush", simple_path=True, layer=20, datatype=0))  # L20_0
pin_header_angled_1x11.add(gdstk.FlexPath([(1524,-16510),(1524,-19050)], 149.998, ends="flush", simple_path=True, layer=20, datatype=0))  # L20_0
pin_header_angled_1x11.add(gdstk.FlexPath([(1524,-16510),(4064,-16510)], 149.998, ends="flush", simple_path=True, layer=20, datatype=0))  # L20_0
pin_header_angled_1x11.add(gdstk.FlexPath([(1524,-9906),(1143,-9906)], 149.998, ends="flush", simple_path=True, layer=20, datatype=0))  # L20_0
pin_header_angled_1x11.add(gdstk.FlexPath([(1524,-10414),(1143,-10414)], 149.998, ends="flush", simple_path=True, layer=20, datatype=0))  # L20_0
pin_header_angled_1x11.add(gdstk.FlexPath([(1524,-12446),(1143,-12446)], 149.998, ends="flush", simple_path=True, layer=20, datatype=0))  # L20_0
pin_header_angled_1x11.add(gdstk.FlexPath([(1524,-12954),(1143,-12954)], 149.998, ends="flush", simple_path=True, layer=20, datatype=0))  # L20_0
pin_header_angled_1x11.add(gdstk.FlexPath([(1524,-14986),(1143,-14986)], 149.998, ends="flush", simple_path=True, layer=20, datatype=0))  # L20_0
pin_header_angled_1x11.add(gdstk.FlexPath([(1524,-15494),(1143,-15494)], 149.998, ends="flush", simple_path=True, layer=20, datatype=0))  # L20_0
pin_header_angled_1x11.add(gdstk.FlexPath([(1524,-17526),(1143,-17526)], 149.998, ends="flush", simple_path=True, layer=20, datatype=0))  # L20_0
pin_header_angled_1x11.add(gdstk.FlexPath([(1524,-18034),(1143,-18034)], 149.998, ends="flush", simple_path=True, layer=20, datatype=0))  # L20_0
pin_header_angled_1x11.add(gdstk.FlexPath([(1524,-7874),(1143,-7874)], 149.998, ends="flush", simple_path=True, layer=20, datatype=0))  # L20_0
pin_header_angled_1x11.add(gdstk.FlexPath([(1524,-7366),(1143,-7366)], 149.998, ends="flush", simple_path=True, layer=20, datatype=0))  # L20_0
pin_header_angled_1x11.add(gdstk.FlexPath([(1524,-5334),(1143,-5334)], 149.998, ends="flush", simple_path=True, layer=20, datatype=0))  # L20_0
pin_header_angled_1x11.add(gdstk.FlexPath([(1524,-4826),(1143,-4826)], 149.998, ends="flush", simple_path=True, layer=20, datatype=0))  # L20_0
pin_header_angled_1x11.add(gdstk.FlexPath([(1524,-2794),(1143,-2794)], 149.998, ends="flush", simple_path=True, layer=20, datatype=0))  # L20_0
pin_header_angled_1x11.add(gdstk.FlexPath([(1524,-2286),(1143,-2286)], 149.998, ends="flush", simple_path=True, layer=20, datatype=0))  # L20_0
pin_header_angled_1x11.add(gdstk.FlexPath([(1524,-254),(1143,-254)], 149.998, ends="flush", simple_path=True, layer=20, datatype=0))  # L20_0
pin_header_angled_1x11.add(gdstk.FlexPath([(1524,254),(1143,254)], 149.998, ends="flush", simple_path=True, layer=20, datatype=0))  # L20_0
pin_header_angled_1x11.add(gdstk.FlexPath([(1524,-25654),(1143,-25654)], 149.998, ends="flush", simple_path=True, layer=20, datatype=0))  # L20_0
pin_header_angled_1x11.add(gdstk.FlexPath([(1524,-25146),(1143,-25146)], 149.998, ends="flush", simple_path=True, layer=20, datatype=0))  # L20_0
pin_header_angled_1x11.add(gdstk.FlexPath([(1524,-23114),(1143,-23114)], 149.998, ends="flush", simple_path=True, layer=20, datatype=0))  # L20_0
pin_header_angled_1x11.add(gdstk.FlexPath([(1524,-22606),(1143,-22606)], 149.998, ends="flush", simple_path=True, layer=20, datatype=0))  # L20_0
pin_header_angled_1x11.add(gdstk.FlexPath([(1524,-20574),(1143,-20574)], 149.998, ends="flush", simple_path=True, layer=20, datatype=0))  # L20_0
pin_header_angled_1x11.add(gdstk.FlexPath([(1524,-20066),(1143,-20066)], 149.998, ends="flush", simple_path=True, layer=20, datatype=0))  # L20_0
pin_header_angled_1x11.add(gdstk.FlexPath([(4191,0),(10033,0)], 149.998, ends="flush", simple_path=True, layer=20, datatype=0))  # L20_0
pin_header_angled_1x11.add(gdstk.FlexPath([(4191,-127),(4191,0)], 149.998, ends="flush", simple_path=True, layer=20, datatype=0))  # L20_0
pin_header_angled_1x11.add(gdstk.FlexPath([(10033,-127),(4191,-127)], 149.998, ends="flush", simple_path=True, layer=20, datatype=0))  # L20_0
pin_header_angled_1x11.add(gdstk.FlexPath([(10033,127),(10033,-127)], 149.998, ends="flush", simple_path=True, layer=20, datatype=0))  # L20_0
pin_header_angled_1x11.add(gdstk.FlexPath([(4191,127),(10033,127)], 149.998, ends="flush", simple_path=True, layer=20, datatype=0))  # L20_0
pin_header_angled_1x11.add(gdstk.FlexPath([(0,1550),(-1300,1550)], 149.998, ends="flush", simple_path=True, layer=20, datatype=0))  # L20_0
pin_header_angled_1x11.add(gdstk.FlexPath([(-1300,1550),(-1300,0)], 149.998, ends="flush", simple_path=True, layer=20, datatype=0))  # L20_0
pin_header_angled_1x11.add(gdstk.FlexPath([(-1500,-27150),(10650,-27150)], 50, ends="flush", simple_path=True, layer=9, datatype=0))  # L9_0
pin_header_angled_1x11.add(gdstk.FlexPath([(-1500,1750),(10650,1750)], 50, ends="flush", simple_path=True, layer=9, datatype=0))  # L9_0
pin_header_angled_1x11.add(gdstk.FlexPath([(10650,1750),(10650,-27150)], 50, ends="flush", simple_path=True, layer=9, datatype=0))  # L9_0
pin_header_angled_1x11.add(gdstk.FlexPath([(-1500,1750),(-1500,-27150)], 50, ends="flush", simple_path=True, layer=9, datatype=0))  # L9_0
pin_header_angled_1x11.add(gdstk.Label('Pin_Headers.3dshapes/Pin_Header_Angled_1x11.wrl', (0,-12700), layer=12, texttype=0))
pin_header_angled_1x11.add(gdstk.Label('11', (0,-25400), layer=28, texttype=0))
pin_header_angled_1x11.add(gdstk.Label('10', (0,-22860), layer=28, texttype=0))
pin_header_angled_1x11.add(gdstk.Label('9', (0,-20320), layer=28, texttype=0))
pin_header_angled_1x11.add(gdstk.Label('8', (0,-17780), layer=28, texttype=0))
pin_header_angled_1x11.add(gdstk.Label('7', (0,-15240), layer=28, texttype=0))
pin_header_angled_1x11.add(gdstk.Label('6', (0,-12700), layer=28, texttype=0))
pin_header_angled_1x11.add(gdstk.Label('5', (0,-10160), layer=28, texttype=0))
pin_header_angled_1x11.add(gdstk.Label('4', (0,-7620), layer=28, texttype=0))
pin_header_angled_1x11.add(gdstk.Label('3', (0,-5080), layer=28, texttype=0))
pin_header_angled_1x11.add(gdstk.Label('2', (0,-2540), layer=28, texttype=0))
pin_header_angled_1x11.add(gdstk.Label('1', (0,0), layer=28, texttype=0))
pin_header_angled_1x11.add(gdstk.Label('type', (0,3100), layer=9, texttype=0))
pin_header_angled_1x11.add(gdstk.Label('devicename', (0,5100), layer=9, texttype=0))

lib.write_gds('Pin_Header_Angled_1x11.gds')
